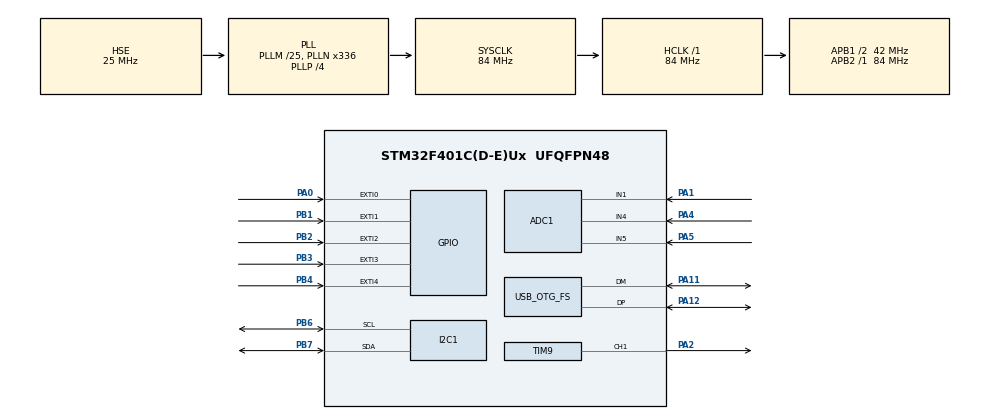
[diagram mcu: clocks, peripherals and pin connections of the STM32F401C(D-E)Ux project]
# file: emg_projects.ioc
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ADC1.Channel-0\#ChannelRegularConversion=ADC_CHANNEL_1
ADC1.Channel-3\#ChannelRegularConversion=ADC_CHANNEL_4
ADC1.Channel-4\#ChannelRegularConversion=ADC_CHANNEL_5
ADC1.ContinuousConvMode=ENABLE
ADC1.DMAContinuousRequests=ENABLE
ADC1.EOCSelection=ADC_EOC_SINGLE_CONV
ADC1.InjNumberOfConversion=0
ADC1.NbrOfConversion=3
ADC1.NbrOfConversionFlag=1
ADC1.Rank-0\#ChannelRegularConversion=1
ADC1.Rank-3\#ChannelRegularConversion=2
ADC1.Rank-4\#ChannelRegularConversion=3
ADC1.SamplingTime-0\#ChannelRegularConversion=ADC_SAMPLETIME_112CYCLES
ADC1.SamplingTime-3\#ChannelRegularConversion=ADC_SAMPLETIME_56CYCLES
ADC1.SamplingTime-4\#ChannelRegularConversion=ADC_SAMPLETIME_56CYCLES
ADC1.master=1
Dma.ADC1.0.Direction=DMA_PERIPH_TO_MEMORY
Dma.ADC1.0.FIFOMode=DMA_FIFOMODE_DISABLE
Dma.ADC1.0.Instance=DMA2_Stream0
Dma.ADC1.0.MemDataAlignment=DMA_MDATAALIGN_WORD
Dma.ADC1.0.MemInc=DMA_MINC_ENABLE
Dma.ADC1.0.Mode=DMA_CIRCULAR
Dma.ADC1.0.PeriphDataAlignment=DMA_PDATAALIGN_WORD
Dma.ADC1.0.PeriphInc=DMA_PINC_DISABLE
Dma.ADC1.0.Priority=DMA_PRIORITY_LOW
Dma.Request0=ADC1
Mcu.Family=STM32F4
Mcu.Name=STM32F401C(D-E)Ux
Mcu.Package=UFQFPN48
NVIC.ADC_IRQn=true\:0\:0\:false\:false\:true\:true\:true\:true
NVIC.DMA2_Stream0_IRQn=true\:0\:0\:false\:false\:true\:false\:true\:true
NVIC.EXTI0_IRQn=true\:0\:0\:false\:false\:true\:true\:true\:true
NVIC.OTG_FS_IRQn=true\:0\:0\:false\:false\:true\:false\:true\:true
NVIC.PriorityGroup=NVIC_PRIORITYGROUP_4
NVIC.TIM1_UP_TIM10_IRQn=true\:0\:0\:false\:false\:true\:true\:true\:true
PA0-WKUP.GPIO_ModeDefaultEXTI=GPIO_MODE_IT_FALLING
PA0-WKUP.GPIO_PuPd=GPIO_PULLUP
PA0-WKUP.Signal=GPXTI0
PA1.Signal=ADCx_IN1
PA11.Mode=Device_Only
PA11.Signal=USB_OTG_FS_DM
PA12.Mode=Device_Only
PA12.Signal=USB_OTG_FS_DP
PA2.Signal=S_TIM9_CH1
PA4.Signal=ADCx_IN4
PA5.Signal=ADCx_IN5
PB1.Signal=GPXTI1
PB2.Signal=GPXTI2
PB3.Signal=GPXTI3
PB4.Signal=GPXTI4
PB6.Mode=I2C
PB6.Signal=I2C1_SCL
PB7.Mode=I2C
PB7.Signal=I2C1_SDA
PC14-OSC32_IN.Mode=LSE-External-Oscillator
PC14-OSC32_IN.Signal=RCC_OSC32_IN
PC15-OSC32_OUT.Mode=LSE-External-Oscillator
PC15-OSC32_OUT.Signal=RCC_OSC32_OUT
PH0\ -\ OSC_IN.Mode=HSE-External-Oscillator
PH0\ -\ OSC_IN.Signal=RCC_OSC_IN
PH1\ -\ OSC_OUT.Mode=HSE-External-Oscillator
PH1\ -\ OSC_OUT.Signal=RCC_OSC_OUT
ProjectManager.HeapSize=0x200
ProjectManager.StackSize=0x400
ProjectManager.TargetToolchain=STM32CubeIDE
RCC.48MHZClocksFreq_Value=48000000
RCC.AHBFreq_Value=84000000
RCC.APB1CLKDivider=RCC_HCLK_DIV2
RCC.APB1Freq_Value=42000000
RCC.APB1TimFreq_Value=84000000
RCC.APB2Freq_Value=84000000
RCC.APB2TimFreq_Value=84000000
RCC.CortexFreq_Value=84000000
RCC.HCLKFreq_Value=84000000
RCC.HSE_VALUE=25000000
RCC.HSI_VALUE=16000000
RCC.PLLM=25
RCC.PLLN=336
RCC.PLLP=RCC_PLLP_DIV4
RCC.PLLQ=7
RCC.SYSCLKFreq_VALUE=84000000
RCC.SYSCLKSource=RCC_SYSCLKSOURCE_PLLCLK
RCC.VCOOutputFreq_Value=336000000
SH.ADCx_IN1.0=ADC1_IN1,IN1
SH.ADCx_IN4.0=ADC1_IN4,IN4
SH.ADCx_IN5.0=ADC1_IN5,IN5
SH.S_TIM9_CH1.0=TIM9_CH1,PWM Generation1 CH1
STMicroelectronics.X-CUBE-ALGOBUILD.1.3.0.LibraryCcDSPOoLibraryJjDSPOoLibrary=true
TIM10.Period=500-1
TIM10.Prescaler=84-1
TIM9.Channel-PWM\ Generation1\ CH1=TIM_CHANNEL_1
TIM9.Period=20000-1
TIM9.Prescaler=84-1
TIM9.Pulse-PWM\ Generation1\ CH1=1500
USB_DEVICE.CLASS_NAME_FS=CDC
USB_DEVICE.VirtualMode-CDC_FS=Cdc
USB_DEVICE.VirtualModeFS=Cdc_FS
USB_OTG_FS.VirtualMode=Device_Only
VP_STMicroelectronics.X-CUBE-ALGOBUILD_VS_DSPOoLibraryJjLibrary_1.3.0_1.3.0.Mode=DSPOoLibraryJjLibrary
VP_TIM10_VS_ClockSourceINT.Mode=Enable_Timer
VP_TIM9_VS_ClockSourceINT.Mode=Internal
VP_USB_DEVICE_VS_USB_DEVICE_CDC_FS.Mode=CDC_FS
board=custom

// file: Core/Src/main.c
/* USER CODE BEGIN Header */
/**
  ******************************************************************************
  * @file           : main.c
  * @brief          : Main program body
  ******************************************************************************
  * @attention
  *
  * Copyright (c) 2022 STMicroelectronics.
  * All rights reserved.
  *
  * This software is licensed under terms that can be found in the LICENSE file
  * in the root directory of this software component.
  * If no LICENSE file comes with this software, it is provided AS-IS.
  *
  ******************************************************************************
  */
/* USER CODE END Header */
#include "main.h"
#include "adc.h"
#include "dma.h"
#include "i2c.h"
#include "tim.h"
#include "usb_device.h"
#include "gpio.h"

/* USER CODE BEGIN Includes */
#include "string.h"
#include "stdbool.h"
#include "math.h"
#include "usbd_cdc_if.h"
#include "pid.h"
/* USER CODE END Includes */

/* USER CODE BEGIN PTD */
#define SIGNAL_SAMPLES_LENGTH 50

typedef struct{
	float buf[SIGNAL_SAMPLES_LENGTH];
	uint8_t bufIndex;

	double power;
	float rms;
}SignalFeature_t;
/* USER CODE END PTD */

/* USER CODE BEGIN PV */
uint32_t adc[3], adc_buffer[3];
int fsr[2];
float fsr_volt[2];
float fsr_force[2]; //KgF
int sum_fsr;
float sum_fsr_voltage;
float sum_fsr_force;

float arm_force_setpoint = 1.0;
uint16_t emg_raw;
float emg_raw_voltage;
int emg_rmv_offset;
float emg_rmv_offset_voltage;
int emg_offset = 1330;
float emg_offset_volt = 0;

uint8_t arm_state = 0;
uint8_t arm_state_manual = 0;

float signal_rms;
float signal_rms_voltage;
float signal_power;
float normalized_signal_rms;
float normalized_signal_thresh = 20;

uint8_t get_mvc_flag;
uint16_t get_mvc_counter_maxval = 1000;
uint32_t get_mvc_counter = 0;
uint8_t ever_get_mvc = 0;
float mvc_voltage;
float mvc_sum;

uint8_t truth_counter_maxval = 50;
uint16_t truth_counter_maxval_arm_closed = 300;
uint16_t truth_counter_thresh;
bool prosthetic_state = false;
bool prosthetic_statebfr;

float kp = 1;
float ti = 0.01;
float td = 0.1;
float dt = 0.0005;

SignalFeature_t sig;
PID_t pid;

int servo_pwm = 1000;

char usbd_buf_recv[128];
char *array[2];
float parsedBuf[2];
uint8_t device_status = 0;

int cnt;
/* USER CODE END PV */

void SystemClock_Config(void);

/* USER CODE BEGIN 0 */
void Signal_Buf_Init(SignalFeature_t *signal){
	//Clear Filter Buffer
	for(uint8_t n = 0; n < SIGNAL_SAMPLES_LENGTH; n++){
		signal->buf[n] = 0.0f;
	}

	//Clear Buf Index
	signal->bufIndex = 0;

	//Clear Filter Output
	signal->power = 0.0f;
}

void Signal_Buf_Update(SignalFeature_t *signal, float inp){
	/*Store Latest Sample in buffer */
	signal->buf[signal->bufIndex] = inp;

	/*increment buffer index and wrap around if necessary*/
	signal->bufIndex++;

	if(signal->bufIndex == SIGNAL_SAMPLES_LENGTH){
		signal->bufIndex = 0;
	}
}

float Signal_power_Calculate(SignalFeature_t *signal){
	signal->power = 0.0f;

	uint8_t sumIndex = signal->bufIndex;
	for(uint8_t n = 0; n < SIGNAL_SAMPLES_LENGTH; n++){
		/*Decrement Index and Wrap if Necessary*/
		if(sumIndex < SIGNAL_SAMPLES_LENGTH -1){
			sumIndex++;
		}else{
			sumIndex = 0;
		}

		/*Multiply Impulse Response with Shifted input sample and add to output*/
		signal->power += (signal->buf[n] * signal->buf[n]);
	}
	return signal->power;
}

float Signal_RMS_Calculate(SignalFeature_t *signal){
	float power = Signal_power_Calculate(signal);
	signal->rms = 0.0f;
	signal->rms = sqrt(power / SIGNAL_SAMPLES_LENGTH);
	return signal->rms;
}
/* USER CODE END 0 */

int main(void)
{
  /* USER CODE BEGIN 1 */
  	PID_Init(&pid, kp, ti, td, dt);
  /* USER CODE END 1 */

  /* MCU Configuration--------------------------------------------------------*/

  /* Reset of all peripherals, Initializes the Flash interface and the Systick. */
  HAL_Init();

  /* Configure the system clock */
  SystemClock_Config();

  /* Initialize all configured peripherals */
  MX_GPIO_Init();
  MX_DMA_Init();
  MX_USB_DEVICE_Init();
  MX_TIM10_Init();
  MX_ADC1_Init();
  MX_TIM9_Init();
  MX_I2C1_Init();
  /* USER CODE BEGIN 2 */
  HAL_TIM_Base_Start_IT(&htim10);
  HAL_TIM_PWM_Start(&htim9, TIM_CHANNEL_1);
  HAL_ADC_Start_DMA(&hadc1, adc_buffer, 3);

  Signal_Buf_Init(&sig);
  /* USER CODE END 2 */

  /* Infinite loop */
  /* USER CODE BEGIN WHILE */
  while (1)
  {
		char logbuf[256];
//		sprintf(logbuf, "%.3f,%.3f,%.3f,%.3f,%.3f,%.3f,%.3f\r\n",signal_rms_voltage, normalized_signal_thresh, arm_force_setpoint, sum_fsr_force, normalized_signal_rms, mvc_voltage, emg_raw_voltage);
		sprintf(logbuf, "%u,%.3f,%.3f,%.3f,%.3f,%.3f,%.3f,%.3f,\r\n", arm_state, mvc_voltage, normalized_signal_thresh, emg_rmv_offset_voltage, signal_rms_voltage, normalized_signal_rms, arm_force_setpoint,sum_fsr_force);
		CDC_Transmit_FS((uint8_t*)logbuf, strlen(logbuf));
    /* USER CODE END WHILE */

  }
}

void SystemClock_Config(void)
{
  RCC_OscInitTypeDef RCC_OscInitStruct = {0};
  RCC_ClkInitTypeDef RCC_ClkInitStruct = {0};

  /** Configure the main internal regulator output voltage
  */
  __HAL_RCC_PWR_CLK_ENABLE();
  __HAL_PWR_VOLTAGESCALING_CONFIG(PWR_REGULATOR_VOLTAGE_SCALE2);

  /** Initializes the RCC Oscillators according to the specified parameters
  * in the RCC_OscInitTypeDef structure.
  */
  RCC_OscInitStruct.OscillatorType = RCC_OSCILLATORTYPE_HSE;
  RCC_OscInitStruct.HSEState = RCC_HSE_ON;
  RCC_OscInitStruct.PLL.PLLState = RCC_PLL_ON;
  RCC_OscInitStruct.PLL.PLLSource = RCC_PLLSOURCE_HSE;
  RCC_OscInitStruct.PLL.PLLM = 25;
  RCC_OscInitStruct.PLL.PLLN = 336;
  RCC_OscInitStruct.PLL.PLLP = RCC_PLLP_DIV4;
  RCC_OscInitStruct.PLL.PLLQ = 7;
  if (HAL_RCC_OscConfig(&RCC_OscInitStruct) != HAL_OK)
  {
    Error_Handler();
  }

  /** Initializes the CPU, AHB and APB buses clocks
  */
  RCC_ClkInitStruct.ClockType = RCC_CLOCKTYPE_HCLK|RCC_CLOCKTYPE_SYSCLK
                              |RCC_CLOCKTYPE_PCLK1|RCC_CLOCKTYPE_PCLK2;
  RCC_ClkInitStruct.SYSCLKSource = RCC_SYSCLKSOURCE_PLLCLK;
  RCC_ClkInitStruct.AHBCLKDivider = RCC_SYSCLK_DIV1;
  RCC_ClkInitStruct.APB1CLKDivider = RCC_HCLK_DIV2;
  RCC_ClkInitStruct.APB2CLKDivider = RCC_HCLK_DIV1;

  if (HAL_RCC_ClockConfig(&RCC_ClkInitStruct, FLASH_LATENCY_2) != HAL_OK)
  {
    Error_Handler();
  }
}

/* USER CODE BEGIN 4 */
void HAL_TIM_PeriodElapsedCallback (TIM_HandleTypeDef *htim){
	if(htim->Instance == TIM10){
//		char logbuf[256];

		uint8_t i = 0;
		char *p = strtok(usbd_buf_recv, ",");

		while(p != NULL){
			array[i++] = p;
			p = strtok(NULL, ",");
		}

		parsedBuf[0] = atof(array[0]);
		parsedBuf[1] = atof(array[1]);

		if(parsedBuf[0] == 1){
			device_status = parsedBuf[1];
		}else if(parsedBuf[0] == 2){
			int value = parsedBuf[1];
			emg_offset_volt = (float)value / 1000;
//			emg_offset_volt = parsedBuf[1];
			emg_offset = (emg_offset_volt*4096/3.3);
		}else if(parsedBuf[0] == 3){
			int value = parsedBuf[1];
			normalized_signal_thresh = (float)value / 1000;
//			normalized_signal_thresh = parsedBuf[1];
		}else if(parsedBuf[0] == 4){
			int value = (int)parsedBuf[1];
			get_mvc_flag = (uint8_t)value;
		}
		memset(usbd_buf_recv, NULL, sizeof(usbd_buf_recv));

		fsr_volt[0] = ((float)fsr[0]/4096)*3.3;
		fsr_volt[1] = ((float)fsr[1]/4096)*3.3;

		fsr_force[0] = 0.5287*fsr_volt[0] + 0.1773;
		fsr_force[1] = 0.5287*fsr_volt[1] + 0.1773;

		emg_rmv_offset = emg_raw - emg_offset;
		emg_rmv_offset_voltage = emg_rmv_offset * 3.3 / 4096;
		Signal_Buf_Update(&sig, emg_rmv_offset);
		Signal_RMS_Calculate(&sig);

		signal_rms = sig.rms;
		signal_rms_voltage = (signal_rms/4096)*3.3;

		if(get_mvc_flag == 1){
			if(get_mvc_counter < get_mvc_counter_maxval){
				mvc_sum += signal_rms_voltage;
				get_mvc_counter++;
			}else{
				mvc_voltage = mvc_sum/1000;
				get_mvc_counter = 0;
				get_mvc_flag = 0;
				ever_get_mvc = 1;
			}
		}else if(get_mvc_flag == 2){
			mvc_voltage = 0;
		}

		if(ever_get_mvc == 1){
			normalized_signal_rms = (signal_rms_voltage / mvc_voltage)*100;
		}else if(ever_get_mvc == 0){
			normalized_signal_rms = 0;
		}

		sum_fsr = fsr[0] + fsr[1];
		sum_fsr_voltage = fsr_volt[0] + fsr_volt[1];
		sum_fsr_force = fsr_force[0] + fsr_force[1];

		servo_pwm = PID_Update(&pid, arm_force_setpoint, sum_fsr_force) + 1500;
		cnt++;

		if(normalized_signal_rms > normalized_signal_thresh){
			if(prosthetic_statebfr == true){
				truth_counter_thresh++;
				if(truth_counter_thresh >= truth_counter_maxval){
					prosthetic_state = true;
					arm_state = 1;
					truth_counter_thresh = 0;
				}
			}
			prosthetic_statebfr = true;
		}else{
			if(prosthetic_statebfr == false){
				truth_counter_thresh++;
				if(truth_counter_thresh >= truth_counter_maxval_arm_closed){
					prosthetic_state = false;
					arm_state = 0;
					pid.i = 0;
					truth_counter_thresh = 0;
				}
			}
			prosthetic_statebfr = false;
		}

		if(arm_state == 1 && device_status == 1){
			__HAL_TIM_SET_COMPARE(&htim9, TIM_CHANNEL_1, servo_pwm);
		}else if(arm_state == 0 && device_status == 1){
			__HAL_TIM_SET_COMPARE(&htim9, TIM_CHANNEL_1, 1000);
		}else{
			__HAL_TIM_SET_COMPARE(&htim9, TIM_CHANNEL_1, 1000);
		}
//For EMG Program
//		sprintf(logbuf, "%.3f,%.3f,%.3f,%.3f,%.3f,%.3f,%.3f\r\n",signal_rms_voltage, normalized_signal_thresh, arm_force_setpoint, sum_fsr_force, normalized_signal_rms, mvc_voltage, emg_raw_voltage);
//For Serial oscilloscope
//		sprintf(logbuf, "%.3f,%.3f,%.3f,%.3f,%.3f\r\n",signal_rms_voltage, normalized_signal_thresh, arm_force_setpoint, sum_fsr_force, arm_force_setpoint);
//		CDC_Transmit_FS((uint8_t*)logbuf, strlen(logbuf));
	}
}

void HAL_ADC_ConvCpltCallback(ADC_HandleTypeDef* hadc)
{
	for(int i =0; i < 3; i++){
		adc[i] = adc_buffer[i];
	}
	emg_raw = adc[0];
	emg_raw_voltage = (emg_raw*3.3/4096);
	fsr[0] = adc[1];
	fsr[1] = adc[2];
}

void HAL_GPIO_EXTI_Callback(uint16_t GPIO_Pin){
	if(GPIO_Pin == GPIO_PIN_0){
		get_mvc_flag = 1;
	}
}
/* USER CODE END 4 */

void Error_Handler(void)
{
  __disable_irq();
  while (1)
  {
  }
}
